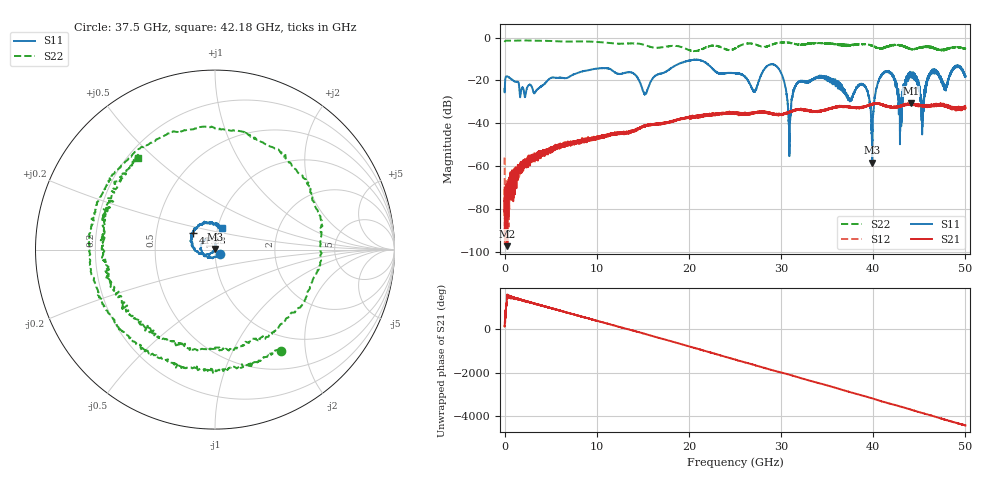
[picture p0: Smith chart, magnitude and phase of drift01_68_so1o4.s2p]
!Created with skrf (http://scikit-rf.org).
# Hz S RI R 50.0
!freq ReS11 ImS11 ReS21 ImS21 ReS12 ImS12 ReS22 ImS22
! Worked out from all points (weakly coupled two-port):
!   10001 points, 300 kHz to 50 GHz, reference 50 ohm
!   highest |S21| = -30.52 dB at 44.1 GHz (marker M1); lowest = -97.4 dB at 300.3 MHz (marker M2)
!   lowest |S11| = -58.4 dB at 39.89 GHz (marker M3), VSWR 1.00, Z = 50 + j0.114 ohm
!   |S11| at or under -10 dB: start of sweep to end of sweep
!   |S22| runs from -6.4 to -1.4 dB; largest |S21 - S12| = 0.0042
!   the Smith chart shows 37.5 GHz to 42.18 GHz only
!   S11 on the Smith chart (normalised r, x): 37.5 GHz: 1.06, -0.05; 41.23 GHz: 0.77, +0.14; 42.18 GHz: 1.05, +0.26
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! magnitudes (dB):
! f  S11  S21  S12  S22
! 300 kHz  -24.0  -70.1  -56.0  -2.1
! 300.3 MHz  -18.1  -97.4  -69.0  -1.4
! 3.03 GHz  -23.9  -54.6  -56.3  -1.4
! 8.335 GHz  -15.9  -48.2  -48.4  -1.8
! 16.67 GHz  -17.1  -40.4  -40.1  -4.8
! 25 GHz  -16.6  -35.2  -35.2  -5.0
! 27.09 GHz  -25.1  -35.1  -35.3  -3.1
! 29.44 GHz  -13.2  -36.1  -36.1  -2.8
! 30.91 GHz  -50.7  -34.6  -34.7  -2.5
! 31.69 GHz  -21.6  -33.9  -33.7  -3.2
! 33.34 GHz  -19.7  -34.3  -34.4  -2.8
! 37.5 GHz  -28.9  -32.6  -32.5  -3.4
! 38.97 GHz  -22.2  -32.3  -32.4  -3.1
! 39.89 GHz  -58.4  -31.0  -31.3  -3.8
! 41.23 GHz  -16.2  -31.8  -31.8  -4.6
! 41.67 GHz  -15.8  -32.3  -32.3  -4.0
! 42.18 GHz  -17.8  -32.5  -32.6  -3.5
! 42.96 GHz  -36.0  -32.0  -32.0  -3.6
! 44.1 GHz  -17.1  -30.5  -31.1  -5.6
! 45.31 GHz  -36.5  -32.2  -31.9  -4.4
! 46.42 GHz  -15.4  -31.8  -31.7  -4.8
! 50 GHz  -17.9  -32.9  -33.0  -5.3
